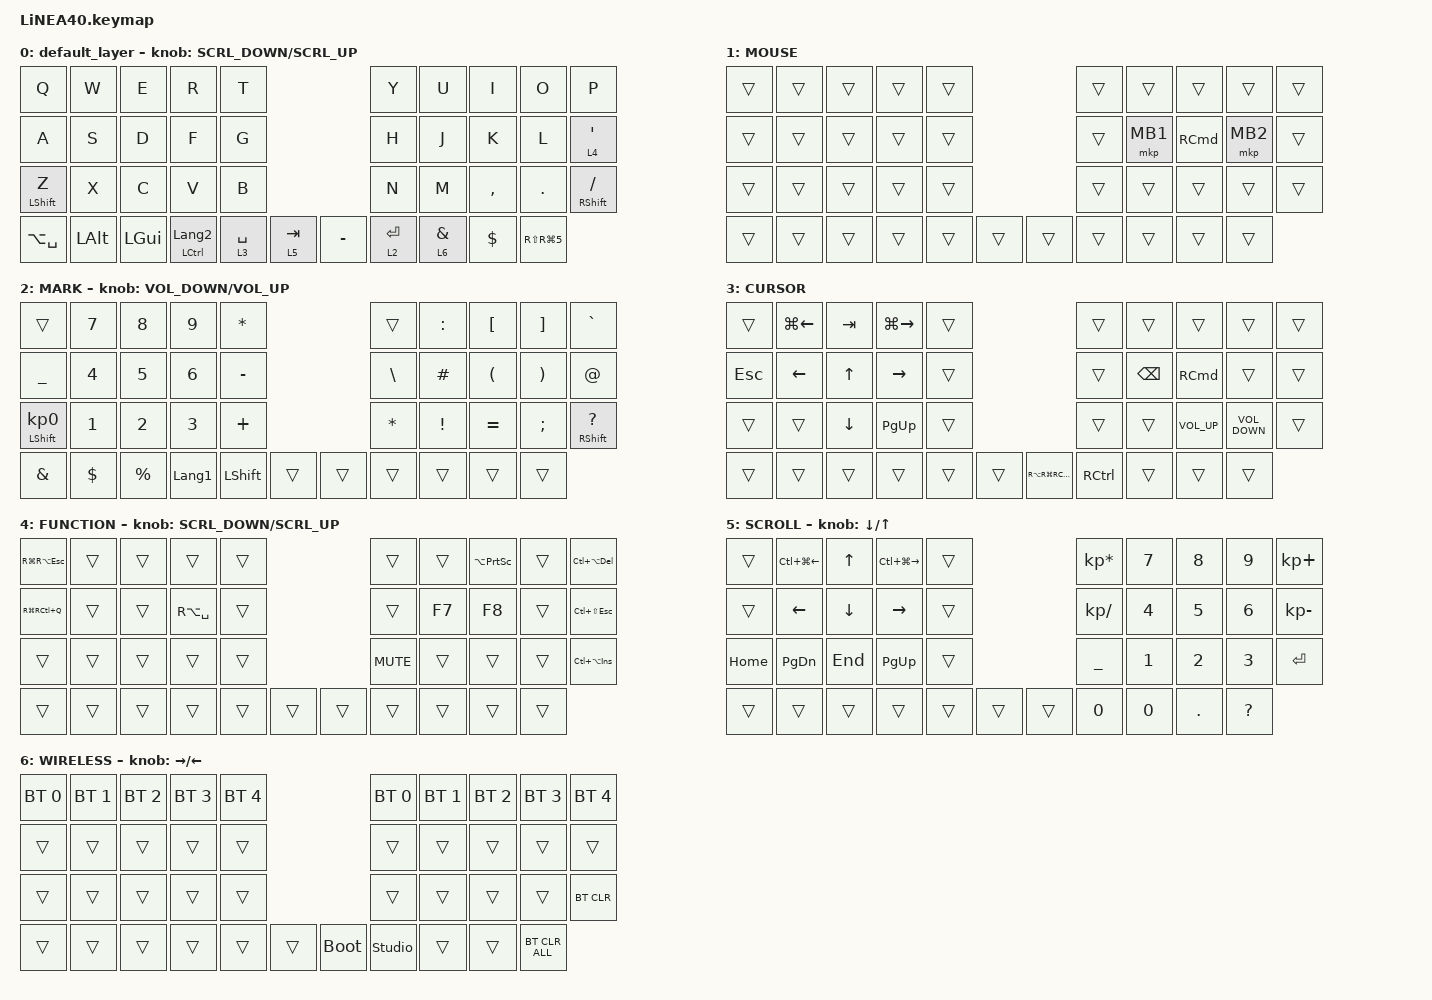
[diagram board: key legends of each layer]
#define ZMK_POINTING_DEFAULT_SCRL_VAL 70

#include <dt-bindings/zmk/input_transform.h>
#include <input/processors.dtsi>
#include <zephyr/dt-bindings/input/input-event-codes.h>
#include <behaviors.dtsi>
#include <dt-bindings/zmk/bt.h>
#include <dt-bindings/zmk/keys.h>
#include <dt-bindings/zmk/pointing.h>

#define MOUSE 1
#define MARK 2
#define CURSOR 3
#define FUNCTION 4
#define SCROLL 5
#define WIRELESS 6

// writenn bytenajima
// zを押した時にshiftがすぐ入って大文字になってしまうのを防ぐため

&mt {
    flavor = "balanced";
    quick-tap-ms = <0>;
};

// 
//mouse cursol

&mmv {
    delay-ms = <20>;
    trigger-period-ms = <5>;
    time-to-max-speed-ms = <100>;
    acceleration-exponent = <2>;
};

//mouse scroll

&msc {
    delay-ms = <3>;
    trigger-period-ms = <3>;
    time-to-max-speed-ms = <100>;
    acceleration-exponent = <0>;
};

/ {
    input_processors {
        zip_wheel_scaler: zip_wheel_scaler {
            compatible = "zmk,input-processor-scaler";
            #input-processor-cells = <2>;
            type = <INPUT_EV_REL>;
            codes = <INPUT_REL_WHEEL>;
            track-remainders;
        };
    };
};

&msc_input_listener {
    speed_up {
        layers = <FUNCTION>;
        input-processors = <&zip_wheel_scaler 3 1>; //スクロールを3倍速にする
    };
};

&trackball_listener {
    scroller {
        layers = <SCROLL>;
        input-processors =
            <&zip_xy_transform INPUT_TRANSFORM_Y_INVERT>,
            //スクロール方向を逆転,,,,,,,,,
            <&zip_xy_to_scroll_mapper>;
    };
};

/ {
    combos {
        compatible = "zmk,combos";

        ZenkakuHankaku {
            bindings = <&kp GRAVE>;
            key-positions = <11 12>;
        };

        DeleteKey {
            bindings = <&kp DEL>;
            key-positions = <7 8>;
        };

        InsertKey {
            bindings = <&kp INS>;
            key-positions = <6 7>;
        };

        CenterClick {
            bindings = <&mkp MB3>;
            key-positions = <17 16>;
        };

        RightClick {
            bindings = <&mkp MB2>;
            key-positions = <18 17>;
        };

        PrevClick {
            bindings = <&mkp MB4>;
            key-positions = <27 28>;
        };

        ClickNext {
            bindings = <&mkp MB5>;
            key-positions = <26 27>;
        };
    };

    behaviors {
        re_kp: sensor_rotate_kp {
            compatible = "zmk,behavior-sensor-rotate-var";
            #sensor-binding-cells = <2>;
            bindings = <&kp>, <&kp>;
        };

        mouse_scrl: mouse_wheel_scrl {
            compatible = "zmk,behavior-sensor-rotate-var";
            #sensor-binding-cells = <2>;
            bindings = <&msc>, <&msc>;

            tap-ms = <20>;
        };
    };

    keymap {
        compatible = "zmk,keymap";

        default_layer {
            bindings = <
&kp Q             &kp W         &kp E         &kp R                        &kp T                                &kp Y        &kp U  &kp I            &kp O       &kp P
&kp A             &kp S         &kp D         &kp F                        &kp G                                &kp H        &kp J  &kp K            &kp L       &lt 4 SINGLE_QUOTE
&mt LEFT_SHIFT Z  &kp X         &kp C         &kp V                        &kp B                                &kp N        &kp M  &kp COMMA        &kp DOT     &mt RIGHT_SHIFT SLASH
&kp LA(SPACE)     &kp LEFT_ALT  &kp LEFT_GUI  &mt LEFT_CONTROL LANGUAGE_2  &lt 3 SPACE  &lt 5 TAB    &kp MINUS  &lt 2 ENTER         &lt 6 AMPERSAND  &kp DOLLAR  &kp RS(RG(N5))
            >;

            sensor-bindings = <&mouse_scrl SCRL_DOWN SCRL_UP>;
        };

        //1

        MOUSE {
            bindings = <
&trans  &trans  &trans  &trans  &trans                    &trans  &trans    &trans             &trans    &trans
&trans  &trans  &trans  &trans  &trans                    &trans  &mkp MB1  &kp RIGHT_COMMAND  &mkp MB2  &trans
&trans  &trans  &trans  &trans  &trans                    &trans  &trans    &trans             &trans    &trans
&trans  &trans  &trans  &trans  &trans  &trans    &trans  &trans            &trans             &trans    &trans
            >;
        };

        //2

        MARK {
            bindings = <
&trans                      &kp NUMBER_7  &kp N8       &kp N9          &kp ASTERISK                      &trans         &kp COLON        &kp LEFT_BRACKET      &kp RIGHT_BRACKET      &kp GRAVE
&kp UNDER                   &kp N4        &kp N5       &kp N6          &kp MINUS                         &kp BACKSLASH  &kp HASH         &kp LEFT_PARENTHESIS  &kp RIGHT_PARENTHESIS  &kp AT_SIGN
&mt LEFT_SHIFT KP_NUMBER_0  &kp N1        &kp N2       &kp N3          &kp PLUS                          &kp ASTRK      &kp EXCLAMATION  &kp EQUAL             &kp SEMI               &mt RIGHT_SHIFT QUESTION
&kp AMPERSAND               &kp DOLLAR    &kp PERCENT  &kp LANGUAGE_1  &kp LEFT_SHIFT  &trans    &trans  &trans                          &trans                &trans                 &trans
            >;

            sensor-bindings = <&re_kp C_VOLUME_DOWN C_VOLUME_UP>;
        };

        //3

        CURSOR {
            bindings = <
&trans   &kp LG(LEFT_ARROW)  &kp TAB       &kp LG(RIGHT_ARROW)  &trans                                       &trans             &trans         &trans             &trans             &trans
&kp ESC  &kp LEFT_ARROW      &kp UP_ARROW  &kp RIGHT_ARROW      &trans                                       &trans             &kp BACKSPACE  &kp RIGHT_COMMAND  &trans             &trans
&trans   &trans              &kp DOWN      &kp PAGE_UP          &trans                                       &trans             &trans         &kp C_VOLUME_UP    &kp C_VOLUME_DOWN  &trans
&trans   &trans              &trans        &trans               &trans  &trans    &kp RA(RG(RIGHT_CONTROL))  &kp RIGHT_CONTROL                 &trans             &trans             &trans
            >;
        };

        //4

        FUNCTION {
            bindings = <
&kp RG(RA(ESCAPE))  &trans  &trans  &trans         &trans                    &trans      &trans  &kp LA(PRINTSCREEN)  &trans  &kp LC(LA(DELETE))
&kp RG(RC(Q))       &trans  &trans  &kp RA(SPACE)  &trans                    &trans      &kp F7  &kp F8               &trans  &kp LC(LS(ESCAPE))
&trans              &trans  &trans  &trans         &trans                    &kp C_MUTE  &trans  &trans               &trans  &kp LC(LA(INS))
&trans              &trans  &trans  &trans         &trans  &trans    &trans  &trans              &trans               &trans  &trans
            >;

            sensor-bindings = <&mouse_scrl SCRL_DOWN SCRL_UP>;
        };

        //5

        SCROLL {
            bindings = <
&trans    &kp LC(LG(LEFT_ARROW))  &kp UP_ARROW  &kp LC(LG(RIGHT_ARROW))  &trans                    &kp KP_MULTIPLY  &kp NUMBER_7  &kp NUMBER_8  &kp NUMBER_9  &kp KP_PLUS
&trans    &kp LEFT_ARROW          &kp DOWN      &kp RIGHT_ARROW          &trans                    &kp KP_SLASH     &kp NUMBER_4  &kp NUMBER_5  &kp NUMBER_6  &kp KP_MINUS
&kp HOME  &kp PAGE_DOWN           &kp END       &kp PAGE_UP              &trans                    &kp UNDER        &kp NUMBER_1  &kp NUMBER_2  &kp NUMBER_3  &kp ENTER
&trans    &trans                  &trans        &trans                   &trans  &trans    &trans  &kp NUMBER_0                   &kp NUMBER_0  &kp DOT       &kp QUESTION
            >;

            sensor-bindings = <&inc_dec_kp DOWN_ARROW UP_ARROW>;
        };

        //6

        WIRELESS {
            bindings = <
&bt BT_SEL 0  &bt BT_SEL 1  &bt BT_SEL 2  &bt BT_SEL 3  &bt BT_SEL 4                         &bt BT_SEL 0    &bt BT_SEL 1  &bt BT_SEL 2  &bt BT_SEL 3  &bt BT_SEL 4
&trans        &trans        &trans        &trans        &trans                               &trans          &trans        &trans        &trans        &trans
&trans        &trans        &trans        &trans        &trans                               &trans          &trans        &trans        &trans        &bt BT_CLR
&trans        &trans        &trans        &trans        &trans        &trans    &bootloader  &studio_unlock                &trans        &trans        &bt BT_CLR_ALL
            >;

            sensor-bindings = <&inc_dec_kp RIGHT_ARROW LEFT_ARROW>;
        };
    };
};
